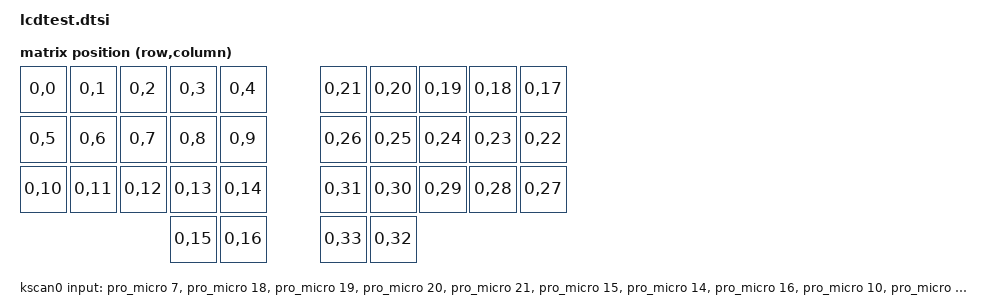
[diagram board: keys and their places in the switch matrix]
/*
 * Copyright (c) 2020 The ZMK Contributors
 *
 * SPDX-License-Identifier: MIT
 */

#include <dt-bindings/zmk/matrix_transform.h>

/ {

	chosen {
		zmk,kscan = &kscan0;
		zmk,matrix_transform = &default_transform;
		zephyr,display = &lcd;
	};

	default_transform: keymap_transform_0 {
		compatible = "zmk,matrix-transform";
		columns = <34>;
		rows = <1>;
		map = <
		RC(0,0)  RC(0,1)  RC(0,2)  RC(0,3)  RC(0,4)    RC(0,21) RC(0,20) RC(0,19) RC(0,18) RC(0,17)
		RC(0,5)  RC(0,6)  RC(0,7)  RC(0,8)  RC(0,9)    RC(0,26) RC(0,25) RC(0,24) RC(0,23) RC(0,22)
		RC(0,10) RC(0,11) RC(0,12) RC(0,13) RC(0,14)   RC(0,31) RC(0,30) RC(0,29) RC(0,28) RC(0,27)
		                           RC(0,15) RC(0,16)   RC(0,33) RC(0,32)
		>;
	};

	kscan0: kscan {
		compatible = "zmk,kscan-gpio-direct";
		label = "KSCAN";
		input-gpios
		= <&pro_micro  7 (GPIO_ACTIVE_LOW | GPIO_PULL_UP)>
		, <&pro_micro 18 (GPIO_ACTIVE_LOW | GPIO_PULL_UP)>
		, <&pro_micro 19 (GPIO_ACTIVE_LOW | GPIO_PULL_UP)>
		, <&pro_micro 20 (GPIO_ACTIVE_LOW | GPIO_PULL_UP)>
		, <&pro_micro 21 (GPIO_ACTIVE_LOW | GPIO_PULL_UP)>
		, <&pro_micro 15 (GPIO_ACTIVE_LOW | GPIO_PULL_UP)>
		, <&pro_micro 14 (GPIO_ACTIVE_LOW | GPIO_PULL_UP)>
		, <&pro_micro 16 (GPIO_ACTIVE_LOW | GPIO_PULL_UP)>
		, <&pro_micro 10 (GPIO_ACTIVE_LOW | GPIO_PULL_UP)>
		, <&pro_micro  1 (GPIO_ACTIVE_LOW | GPIO_PULL_UP)>
		, <&pro_micro  2 (GPIO_ACTIVE_LOW | GPIO_PULL_UP)>
		, <&pro_micro  3 (GPIO_ACTIVE_LOW | GPIO_PULL_UP)>
		, <&pro_micro  4 (GPIO_ACTIVE_LOW | GPIO_PULL_UP)>
		, <&pro_micro  5 (GPIO_ACTIVE_LOW | GPIO_PULL_UP)>
		, <&pro_micro  6 (GPIO_ACTIVE_LOW | GPIO_PULL_UP)>
		, <&pro_micro  8 (GPIO_ACTIVE_LOW | GPIO_PULL_UP)>
		, <&pro_micro  9 (GPIO_ACTIVE_LOW | GPIO_PULL_UP)>
		// , <&gpio0 5   (GPIO_ACTIVE_LOW | GPIO_PULL_UP)> // reuse nrfmacro_spi miso pin (0.05)
		;
	};

};

// use nrfmacro pin-out
&pro_micro_spi {
  status = "okay";
  compatible = "nordic,nrf-spim";
  sck-pin = <12>;
  mosi-pin = <7>;
  cs-gpios = <&gpio0 22 GPIO_ACTIVE_HIGH>;
  // Unused pin, needed for SPI definition, but not used by the display driver itself.
  miso-pin = <5>; // 0.5 is not broken out on the nRFMicro

	lcd: ls0xx@0 {
		compatible = "sharp,ls0xx";
		label = "DISPLAY";
		spi-max-frequency = <2000000>;
		reg = <0>;
		width = <160>;
		height = <68>;
		// extcomin-gpios = <&pro_micro 2 GPIO_ACTIVE_HIGH>;
		// extcomin-frequency = <60>;
		// disp-en-gpios = <&pro_micro 3 GPIO_ACTIVE_HIGH>; 
	};
};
